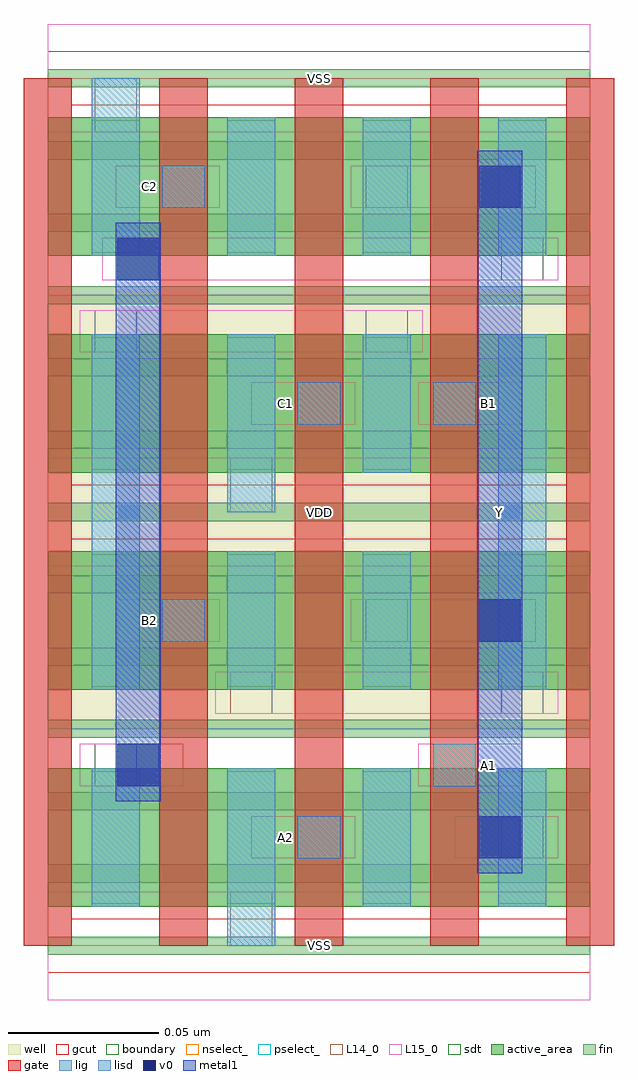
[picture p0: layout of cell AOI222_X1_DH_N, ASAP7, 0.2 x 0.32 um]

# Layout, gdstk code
import gdstk
lib = gdstk.Library(unit=1e-6, precision=2.5e-10)
def R(c, l, rs):  # rectangles x0, y0, x1, y1
    for r in rs: c.add(gdstk.rectangle(r[:2], r[2:], *l))
def A(c, l, x, y, w, h, nx, ny, dx, dy):  # array of equal rectangles
    R(c, l, [(x+i*dx, y+j*dy, x+i*dx+w, y+j*dy+h) for i in range(nx) for j in range(ny)])
def P(c, l, *ps):  # polygons
    for p in ps: c.add(gdstk.Polygon(p, *l))
well = (1, 0)
fin = (2, 0)
gate = (7, 0)
gcut = (10, 0)
active_area = (11, 0)
nselect_ = (12, 0)
pselect_ = (13, 0)
L14_0 = (14, 0)
L15_0 = (15, 0)
lig = (16, 0)
lisd = (17, 0)
v0 = (18, 0)
metal1 = (19, 0)
sdt = (88, 0)
boundary = (100, 0)

aoi222_x1_dh_n = lib.new_cell('AOI222_X1_DH_N')
R(aoi222_x1_dh_n, well, [(0,0.072,0.18,0.144), (0,0.144,0.18,0.216)])
A(aoi222_x1_dh_n, fin, 0, -0.003, 0.18, 0.006, 1, 13, 0, 0.024)
A(aoi222_x1_dh_n, gate, -0.008, 0, 0.016, 0.288, 5, 1, 0.045, 0)
P(aoi222_x1_dh_n, gcut, [(0,-0.009),(0,0),(-0.008,0),(-0.008,0.135),(0.008,0.135),(0.008,0.009),(0.172,0.009),(0.172,0.135),(-0.008,0.135),(-0.008,0.279),(0.008,0.279),(0.008,0.153),(0.172,0.153),(0.172,0.279),(-0.008,0.279),(-0.008,0.288),(0,0.288),(0,0.297),(0.18,0.297),(0.18,0.288),(0.188,0.288),(0.188,0),(0.18,0),(0.18,-0.009)])
A(aoi222_x1_dh_n, active_area, 0, 0.013, 0.18, 0.046, 1, 4, 0, 0.072)
R(aoi222_x1_dh_n, nselect_, [(0,0,0.18,0.072), (0,0.216,0.18,0.288)])
R(aoi222_x1_dh_n, pselect_, [(0,0.072,0.18,0.144), (0,0.144,0.18,0.216)])
R(aoi222_x1_dh_n, L14_0, [(0.0605,0,0.0745,0.018), (0.083,0.029,0.097,0.043), (0.1505,0.029,0.1645,0.043), (0.0155,0.053,0.0295,0.067), (0.128,0.053,0.142,0.067), (0.0605,0.077,0.0745,0.091), (0.1505,0.077,0.1645,0.091), (0.038,0.101,0.052,0.115), (0.1055,0.101,0.1195,0.115), (0.0605,0.144,0.0745,0.162), (0.083,0.173,0.097,0.187), (0.128,0.173,0.142,0.187), (0.0155,0.197,0.0295,0.211), (0.1055,0.197,0.1195,0.211), (0.1505,0.221,0.1645,0.235), (0.038,0.245,0.052,0.259), (0.1055,0.245,0.1195,0.259), (0.0155,0.27,0.0295,0.288)])
A(aoi222_x1_dh_n, L15_0, 0, -0.018, 0.18, 0.036, 1, 3, 0, 0.144)
R(aoi222_x1_dh_n, L15_0, [(0.0675,0.029,0.102,0.043), (0.135,0.029,0.1695,0.043), (0.0105,0.053,0.045,0.067), (0.123,0.053,0.1575,0.067), (0.0555,0.077,0.1695,0.091), (0.0225,0.101,0.057,0.115), (0.1005,0.101,0.162,0.115), (0.0675,0.173,0.102,0.187), (0.123,0.173,0.1575,0.187), (0.0105,0.197,0.1245,0.211), (0.018,0.221,0.1695,0.235), (0.0225,0.245,0.057,0.259), (0.1005,0.245,0.162,0.259)])
R(aoi222_x1_dh_n, lig, [(0.083,0.029,0.097,0.043), (0.128,0.053,0.142,0.067), (0.038,0.101,0.052,0.115), (0.083,0.173,0.097,0.187), (0.128,0.173,0.142,0.187), (0.038,0.245,0.052,0.259)])
A(aoi222_x1_dh_n, lisd, 0.1045, 0.013, 0.016, 0.046, 1, 3, 0, 0.072)
A(aoi222_x1_dh_n, lisd, 0.0595, 0.229, 0.016, 0.046, 3, 1, 0.045, 0)
R(aoi222_x1_dh_n, lisd, [(0.0595,0,0.0755,0.059), (0.0145,0.013,0.0305,0.059), (0.1495,0.013,0.1655,0.059), (0.0145,0.085,0.0305,0.203), (0.0595,0.085,0.0755,0.131), (0.1495,0.085,0.1655,0.203), (0.0595,0.144,0.0755,0.203), (0.0145,0.229,0.0305,0.288)])
R(aoi222_x1_dh_n, v0, [(0.143,0.029,0.157,0.043), (0.023,0.053,0.037,0.067), (0.143,0.101,0.157,0.115), (0.023,0.221,0.037,0.235), (0.143,0.245,0.157,0.259)])
R(aoi222_x1_dh_n, metal1, [(0.1425,0.024,0.1575,0.264), (0.0225,0.048,0.0375,0.24)])
A(aoi222_x1_dh_n, sdt, 0.0145, 0.014, 0.016, 0.044, 4, 4, 0.045, 0.072)
R(aoi222_x1_dh_n, boundary, [(0,0,0.18,0.288)])
aoi222_x1_dh_n.add(gdstk.Label('VSS', (0.09,0), layer=15, texttype=251))
aoi222_x1_dh_n.add(gdstk.Label('VDD', (0.09,0.144), layer=15, texttype=251))
aoi222_x1_dh_n.add(gdstk.Label('VDD', (0.09,0.144), layer=15, texttype=251))
aoi222_x1_dh_n.add(gdstk.Label('VSS', (0.09,0.288), layer=15, texttype=251))
aoi222_x1_dh_n.add(gdstk.Label('A1', (0.1463,0.06), layer=15, texttype=251))
aoi222_x1_dh_n.add(gdstk.Label('VSS', (0.09,0), layer=15, texttype=251))
aoi222_x1_dh_n.add(gdstk.Label('VDD', (0.09,0.144), layer=15, texttype=251))
aoi222_x1_dh_n.add(gdstk.Label('VDD', (0.09,0.144), layer=15, texttype=251))
aoi222_x1_dh_n.add(gdstk.Label('VSS', (0.09,0.288), layer=15, texttype=251))
aoi222_x1_dh_n.add(gdstk.Label('B1', (0.1463,0.18), layer=15, texttype=251))
aoi222_x1_dh_n.add(gdstk.Label('VSS', (0.09,0), layer=15, texttype=251))
aoi222_x1_dh_n.add(gdstk.Label('VDD', (0.09,0.144), layer=15, texttype=251))
aoi222_x1_dh_n.add(gdstk.Label('VDD', (0.09,0.144), layer=15, texttype=251))
aoi222_x1_dh_n.add(gdstk.Label('VSS', (0.09,0.288), layer=15, texttype=251))
aoi222_x1_dh_n.add(gdstk.Label('C2', (0.0338,0.252), layer=15, texttype=251))
aoi222_x1_dh_n.add(gdstk.Label('VSS', (0.09,0), layer=15, texttype=251))
aoi222_x1_dh_n.add(gdstk.Label('VDD', (0.09,0.144), layer=15, texttype=251))
aoi222_x1_dh_n.add(gdstk.Label('VDD', (0.09,0.144), layer=15, texttype=251))
aoi222_x1_dh_n.add(gdstk.Label('VSS', (0.09,0.288), layer=15, texttype=251))
aoi222_x1_dh_n.add(gdstk.Label('B2', (0.0338,0.108), layer=15, texttype=251))
aoi222_x1_dh_n.add(gdstk.Label('VSS', (0.09,0), layer=15, texttype=251))
aoi222_x1_dh_n.add(gdstk.Label('VDD', (0.09,0.144), layer=15, texttype=251))
aoi222_x1_dh_n.add(gdstk.Label('VDD', (0.09,0.144), layer=15, texttype=251))
aoi222_x1_dh_n.add(gdstk.Label('VSS', (0.09,0.288), layer=15, texttype=251))
aoi222_x1_dh_n.add(gdstk.Label('A2', (0.0788,0.036), layer=15, texttype=251))
aoi222_x1_dh_n.add(gdstk.Label('VSS', (0.09,0), layer=15, texttype=251))
aoi222_x1_dh_n.add(gdstk.Label('VDD', (0.09,0.144), layer=15, texttype=251))
aoi222_x1_dh_n.add(gdstk.Label('VDD', (0.09,0.144), layer=15, texttype=251))
aoi222_x1_dh_n.add(gdstk.Label('VSS', (0.09,0.288), layer=15, texttype=251))
aoi222_x1_dh_n.add(gdstk.Label('C1', (0.0788,0.18), layer=15, texttype=251))
aoi222_x1_dh_n.add(gdstk.Label('VSS', (0.09,0), layer=15, texttype=251))
aoi222_x1_dh_n.add(gdstk.Label('VDD', (0.09,0.144), layer=15, texttype=251))
aoi222_x1_dh_n.add(gdstk.Label('VDD', (0.09,0.144), layer=15, texttype=251))
aoi222_x1_dh_n.add(gdstk.Label('VSS', (0.09,0.288), layer=15, texttype=251))
aoi222_x1_dh_n.add(gdstk.Label('Y', (0.15,0.144), layer=19, texttype=251))
aoi222_x1_dh_n.add(gdstk.Label('VSS', (0.09,0), layer=3, texttype=251))
aoi222_x1_dh_n.add(gdstk.Label('VSS', (0.09,0.288), layer=3, texttype=251))
aoi222_x1_dh_n.add(gdstk.Label('VSS', (0.09,0), layer=3, texttype=251))
aoi222_x1_dh_n.add(gdstk.Label('VSS', (0.09,0.288), layer=3, texttype=251))
aoi222_x1_dh_n.add(gdstk.Label('VSS', (0.09,0), layer=3, texttype=251))
aoi222_x1_dh_n.add(gdstk.Label('VSS', (0.09,0.288), layer=3, texttype=251))
aoi222_x1_dh_n.add(gdstk.Label('VSS', (0.09,0), layer=3, texttype=251))
aoi222_x1_dh_n.add(gdstk.Label('VSS', (0.09,0.288), layer=3, texttype=251))
aoi222_x1_dh_n.add(gdstk.Label('VSS', (0.09,0), layer=3, texttype=251))
aoi222_x1_dh_n.add(gdstk.Label('VSS', (0.09,0.288), layer=3, texttype=251))
aoi222_x1_dh_n.add(gdstk.Label('VSS', (0.09,0), layer=3, texttype=251))
aoi222_x1_dh_n.add(gdstk.Label('VSS', (0.09,0.288), layer=3, texttype=251))
aoi222_x1_dh_n.add(gdstk.Label('VSS', (0.09,0), layer=3, texttype=251))
aoi222_x1_dh_n.add(gdstk.Label('VSS', (0.09,0.288), layer=3, texttype=251))
aoi222_x1_dh_n.add(gdstk.Label('VDD', (0.09,0.144), layer=1, texttype=251))
aoi222_x1_dh_n.add(gdstk.Label('VDD', (0.09,0.144), layer=1, texttype=251))
aoi222_x1_dh_n.add(gdstk.Label('VDD', (0.09,0.144), layer=1, texttype=251))
aoi222_x1_dh_n.add(gdstk.Label('VDD', (0.09,0.144), layer=1, texttype=251))
aoi222_x1_dh_n.add(gdstk.Label('VDD', (0.09,0.144), layer=1, texttype=251))
aoi222_x1_dh_n.add(gdstk.Label('VDD', (0.09,0.144), layer=1, texttype=251))
aoi222_x1_dh_n.add(gdstk.Label('VDD', (0.09,0.144), layer=1, texttype=251))
aoi222_x1_dh_n.add(gdstk.Label('VDD', (0.09,0.144), layer=1, texttype=251))
aoi222_x1_dh_n.add(gdstk.Label('VDD', (0.09,0.144), layer=1, texttype=251))
aoi222_x1_dh_n.add(gdstk.Label('VDD', (0.09,0.144), layer=1, texttype=251))
aoi222_x1_dh_n.add(gdstk.Label('VDD', (0.09,0.144), layer=1, texttype=251))
aoi222_x1_dh_n.add(gdstk.Label('VDD', (0.09,0.144), layer=1, texttype=251))
aoi222_x1_dh_n.add(gdstk.Label('VDD', (0.09,0.144), layer=1, texttype=251))
aoi222_x1_dh_n.add(gdstk.Label('VDD', (0.09,0.144), layer=1, texttype=251))

lib.write_gds('AOI222_X1_DH_N.gds')
